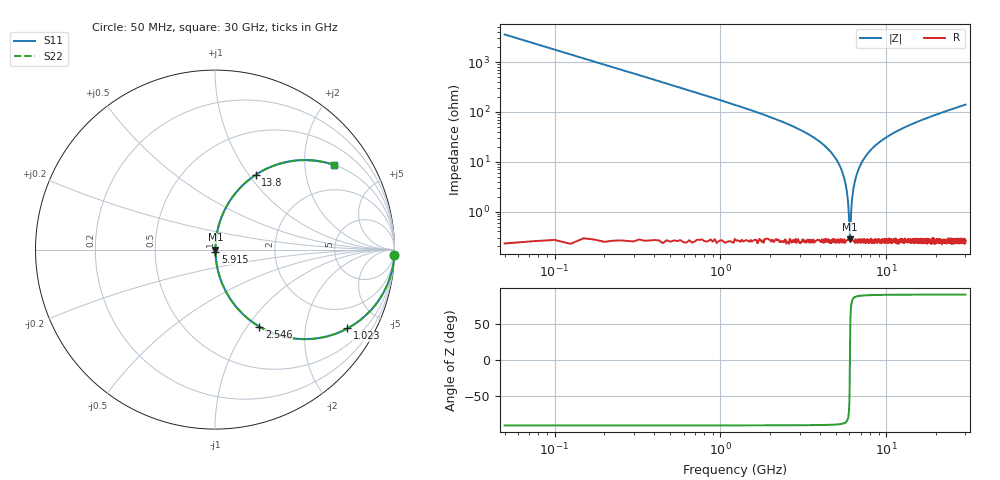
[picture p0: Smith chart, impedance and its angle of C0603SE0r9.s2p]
!	AVX Thin Film Operation 	Date: April 2014
!	Description: Accu-P® Series, Thin Film  SMD RF Capacitor
!	Part Number: 06031J0R9PBSTR
# MHZ S MA R 50
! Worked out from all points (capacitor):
!   1201 points, 50 MHz to 30 GHz, reference 50 ohm
!   read as one part in series: C = 899 fF near 199.8 MHz
!   lowest |Z| = 280 mohm at 6.04 GHz (marker M1)
!   series resonance near 6.038 GHz, so ESL is about 770 pH
!   S11 on the Smith chart (normalised r, x): 50 MHz: 0, -71; 1.023 GHz: 1.01, -3.35; 2.546 GHz: 1.01, -1.14; 5.915 GHz: 1.01, -0.02; 13.8 GHz: 1.01, +1.08; 30 GHz: 1.01, +2.79
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50  1 -1.6  0.028 88.4  0.028 88.4  1 -1.6
249.667  0.99 -8.0  0.14 81.9  0.14 81.9  0.99 -8.0
399.417  0.975 -12.8  0.221 77.2  0.221 77.2  0.975 -12.8
1023.375  0.858 -30.8  0.512 59.1  0.512 59.1  0.858 -30.8
2545.833  0.495 -60.1  0.867 29.7  0.867 29.7  0.495 -60.1
4118.208  0.223 -76.5  0.972 12.9  0.972 12.9  0.223 -76.5
5041.667  0.105 -82.6  0.992 6.0  0.992 6.0  0.105 -82.6
5640.667  0.04 -84.0  0.997 2.3  0.997 2.3  0.04 -84.0
5790.417  0.025 -82.6  0.997 1.4  0.997 1.4  0.025 -82.6
5915.208  0.012 -77.2  0.997 0.7  0.997 0.7  0.012 -77.2
6040  0.002581 4.4  0.997 -0.0  0.997 -0.0  0.002581 4.4
6139.833  0.01 74.7  0.997 -0.6  0.997 -0.6  0.01 74.7
6289.583  0.024 82.5  0.997 -1.4  0.997 -1.4  0.024 82.5
6439.333  0.038 83.9  0.997 -2.2  0.997 -2.2  0.038 83.9
7063.292  0.092 83.1  0.993 -5.3  0.993 -5.3  0.092 83.1
8211.375  0.18 78.9  0.981 -10.3  0.981 -10.3  0.18 78.9
10058.29  0.297 72.2  0.952 -17.3  0.952 -17.3  0.297 72.2
13802.04  0.475 61.4  0.878 -28.4  0.878 -28.4  0.475 61.4
15025  0.52 58.4  0.852 -31.4  0.852 -31.4  0.52 58.4
20016.67  0.661 48.5  0.749 -41.4  0.749 -41.4  0.661 48.5
25033.29  0.752 41.1  0.658 -48.8  0.658 -48.8  0.752 41.1
30000  0.812 35.6  0.582 -54.3  0.582 -54.3  0.812 35.6
